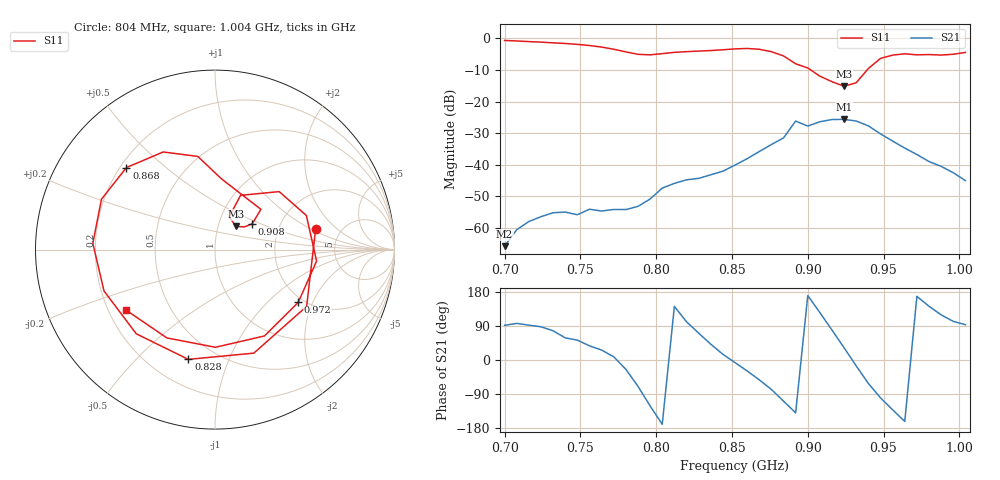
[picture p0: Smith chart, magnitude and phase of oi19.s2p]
# Hz S RI R 50
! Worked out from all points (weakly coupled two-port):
!   39 points, 700 MHz to 1.004 GHz, reference 50 ohm
!   highest |S21| = -25.64 dB at 924 MHz (marker M1); lowest = -65.8 dB at 700 MHz (marker M2)
!   lowest |S11| = -15.2 dB at 924 MHz (marker M3), VSWR 1.42, Z = 60.9 + j16.2 ohm
!   |S11| at or under -10 dB: 902 MHz to 939.2 MHz (37.2 MHz wide, 4.04 % of centre)
!   S12 and S22 are empty: the file has one direction only
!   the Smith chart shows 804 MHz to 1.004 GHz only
!   S11 on the Smith chart (normalised r, x): 804 MHz: 3.25, +1.14; 828 MHz: 0.36, -0.72; 868 MHz: 0.22, +0.37; 908 MHz: 1.44, +0.44; 972 MHz: 1.87, -1.57; 1.004 GHz: 0.27, -0.29
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7e8  0.7649 0.5236  -1.43e-05 0.000514  0 0  0 0
7.24e8  0.8325 -0.2616  6.19e-05 0.00151  0 0  0 0
7.4e8  0.4408 -0.704  0.000934 0.00152  0 0  0 0
7.56e8  -0.198 -0.7448  0.00157 0.0012  0 0  0 0
7.72e8  -0.6481 -0.1814  0.00194 0.000287  0 0  0 0
7.8e8  -0.5639 0.2353  0.00177 -0.000812  0 0  0 0
7.88e8  -0.2041 0.5206  0.000765 -0.00206  0 0  0 0
7.96e8  0.2687 0.4782  -0.00149 -0.00245  0 0  0 0
8.04e8  0.5611 0.1174  -0.0042 -0.000774  0 0  0 0
8.2e8  0.2163 -0.5768  -0.00109 0.00567  0 0  0 0
8.28e8  -0.1485 -0.6115  0.00198 0.00574  0 0  0 0
8.52e8  -0.6806 0.035  0.0098 -0.00116  0 0  0 0
8.68e8  -0.4937 0.457  0.00988 -0.0128  0 0  0 0
8.92e8  0.0356 0.3945  -0.0372 -0.032  0 0  0 0
9e8  0.2558 0.2244  -0.0404 0.0071  0 0  0 0
9.08e8  0.2074 0.1435  -0.0275 0.0392  0 0  0 0
9.24e8  0.117 0.1294  0.0443 0.0278  0 0  0 0
9.4e8  0.1423 0.3023  0.0194 -0.0364  0 0  0 0
9.56e8  0.5091 0.1901  -0.0157 -0.0178  0 0  0 0
9.72e8  0.4638 -0.2938  -0.0142 0.00304  0 0  0 0
9.88e8  0.00281 -0.5442  -0.00459 0.00822  0 0  0 0
1.004e9  -0.4943 -0.338  -0.000312 0.00559  0 0  0 0
